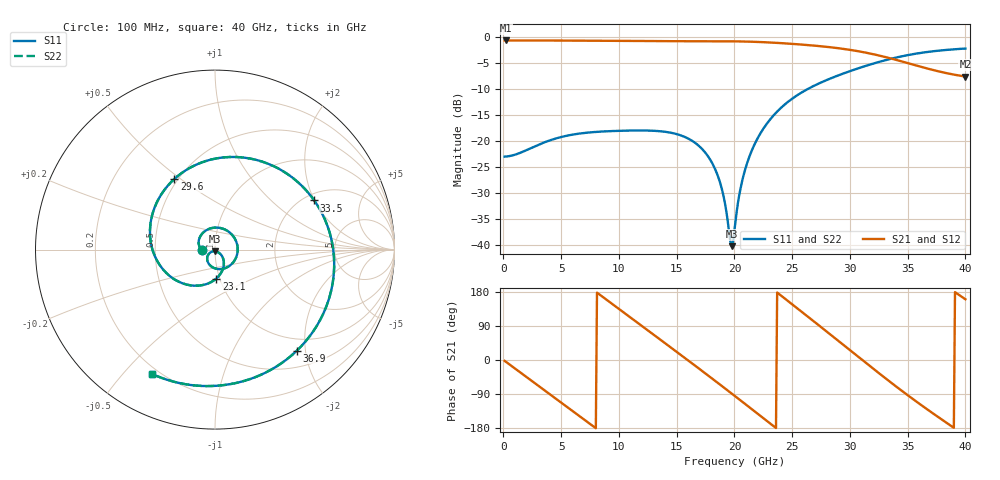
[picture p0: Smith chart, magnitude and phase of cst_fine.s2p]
! A_s4_d300_ap600: L1→L4 through L2/L3, drill Ø0.3, antipad Ø0.6, 4 GND vias at 1 mm
! stackup: 4-layer 1.6 mm FR-4
! ports: 1, 2
! CST Studio Suite 2025.5 Release from 2025-05-30, time domain (FIT, hexahedral, PBA), 339264 mesh cells, 46 s
! mesh: {'lpw': 30.0, 'lpb': 30.0, 'minstep': 0.0, 'ratio': 20}; ports: port 1 (face); port 2 (face)
! interpolated from CST's 1001 samples to the case grid
# Hz S RI R 50
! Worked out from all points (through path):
!   400 points, 100 MHz to 40 GHz, reference 50 ohm
!   highest |S21| = -0.64 dB at 200 MHz (marker M1); lowest = -7.6 dB at 40 GHz (marker M2)
!   group delay of S21, straight-line fit = 64.6 ps
!   lowest |S11| = -40.2 dB at 19.8 GHz (marker M3), VSWR 1.02, Z = 50 - j0.975 ohm
!   |S11| at or under -10 dB: start of sweep to 26.33 GHz
!   |S22| runs from -40.2 to -2.2 dB; largest |S21 - S12| = 3.6e-07
!   S11 on the Smith chart (normalised r, x): 100 MHz: 0.87, +0.00; 23.1 GHz: 0.96, -0.32; 29.6 GHz: 0.48, +0.47; 33.5 GHz: 2.25, +1.99; 36.9 GHz: 0.78, -1.84; 40 GHz: 0.17, -0.60
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1e8  -0.0709 0.000104  0.9282 -0.0364  0.9282 -0.0364  -0.0709 0.000104
2e8  -0.071 0.000213  0.9261 -0.0728  0.9261 -0.0728  -0.071 0.000213
3.6e9  -0.091 0.0358  0.1464 -0.9163  0.1464 -0.9163  -0.091 0.0358
5.1e9  -0.0822 0.0733  -0.3868 -0.8424  -0.3868 -0.8424  -0.0822 0.0733
6.8e9  -0.043 0.111  -0.8242 -0.4211  -0.8242 -0.4211  -0.043 0.111
8.6e9  0.0246 0.1212  -0.898 0.2162  -0.898 0.2162  0.0246 0.1212
1.06e10  0.1 0.0768  -0.4778 0.787  -0.4778 0.787  0.1 0.0768
1.34e10  0.1117 -0.0558  0.4872 0.7752  0.4872 0.7752  0.1117 -0.0558
1.65e10  -0.017 -0.0964  0.8911 -0.2017  0.8911 -0.2017  -0.017 -0.0964
1.86e10  -0.0365 -0.0265  0.4389 -0.8015  0.4389 -0.8015  -0.0365 -0.0265
1.98e10  0.000593 -0.00974  0.00978 -0.9117  0.00978 -0.9117  0.000592 -0.00975
2.01e10  0.0119 -0.0125  -0.1023 -0.905  -0.1023 -0.905  0.0119 -0.0126
2.12e10  0.045 -0.0487  -0.4856 -0.7639  -0.4856 -0.7639  0.045 -0.0487
2.31e10  0.00666 -0.1618  -0.8671 -0.1902  -0.8671 -0.1902  0.00664 -0.1618
2.47e10  -0.1365 -0.1991  -0.7797 0.3773  -0.7797 0.3773  -0.1365 -0.1991
2.67e10  -0.3282 -0.0515  -0.2325 0.7994  -0.2325 0.7994  -0.3282 -0.0515
2.96e10  -0.227 0.3929  0.6204 0.4496  0.6204 0.4496  -0.227 0.393
3.13e10  0.1003 0.5162  0.7087 -0.0678  0.7087 -0.0678  0.1003 0.5162
3.34e10  0.5378 0.2943  0.3537 -0.5209  0.3537 -0.5209  0.5378 0.2943
3.35e10  0.553 0.2736  0.3297 -0.5314  0.3297 -0.5314  0.553 0.2736
3.69e10  0.456 -0.5629  -0.3461 -0.3503  -0.3461 -0.3503  0.456 -0.5629
4e10  -0.3501 -0.6932  -0.393 0.141  -0.393 0.141  -0.3501 -0.6932
